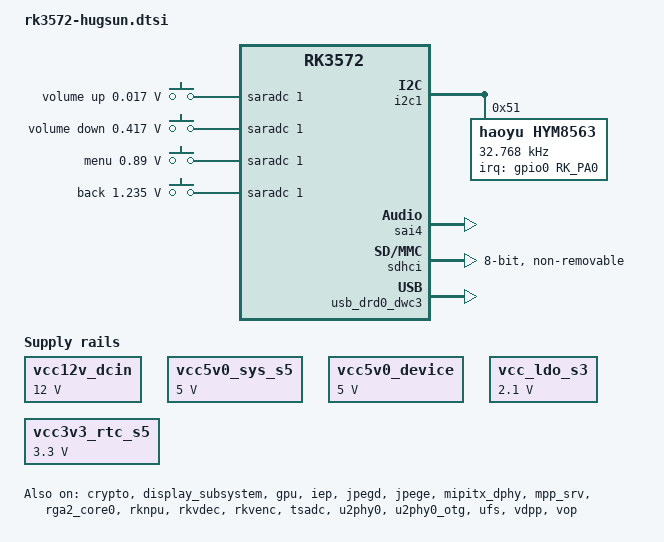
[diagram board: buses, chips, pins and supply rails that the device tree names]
// SPDX-License-Identifier: (GPL-2.0+ OR MIT)
/*
 * Copyright (c) 2025 Rockchip Electronics Co., Ltd.
 */
#include <dt-bindings/display/drm_mipi_dsi.h>
#include <dt-bindings/display/rockchip_vop.h>
#include <dt-bindings/gpio/gpio.h>
#include <dt-bindings/input/rk-input.h>
#include <dt-bindings/pinctrl/rockchip.h>
#include <dt-bindings/pwm/pwm.h>
#include <dt-bindings/sensor-dev.h>

/ {
	adc_keys: adc-keys {
		compatible = "adc-keys";
		io-channels = <&saradc 1>;
		io-channel-names = "buttons";
		keyup-threshold-microvolt = <1800000>;
		poll-interval = <100>;

		vol-up-key {
			label = "volume up";
			linux,code = <KEY_VOLUMEUP>;
			press-threshold-microvolt = <17000>;
		};

		vol-down-key {
			label = "volume down";
			linux,code = <KEY_VOLUMEDOWN>;
			press-threshold-microvolt = <417000>;
		};

		menu-key {
			label = "menu";
			linux,code = <KEY_MENU>;
			press-threshold-microvolt = <890000>;
		};

		back-key {
			label = "back";
			linux,code = <KEY_BACK>;
			press-threshold-microvolt = <1235000>;
		};
	};

	asrc_codec: asrc-codec {
		status = "disabled";
		compatible = "rockchip,dummy-codec";
		#sound-dai-cells = <0>;
	};

	asrc_sound: asrc-sound {
		status = "disabled";
		compatible = "rockchip,multicodecs-card";
		rockchip,card-name = "rockchip,asrc";
		rockchip,mclk-fs = <256>;
		simple-audio-card,format = "i2s";
		rockchip,cpu = <&sai0>;
		rockchip,asrc = <&asrc0>;
		rockchip,codec = <&asrc_codec>;
		rockchip,audio-routing =
			"Dummy Playback", "SAI0 Playback",
			"SAI0 Capture", "Dummy Capture",
			"SAI0 Playback", "ASRC0 Playback",
			"ASRC0 Capture", "SAI0 Capture";
	};

	dsm_sound: dsm-sound {
		status = "disabled";
		compatible = "simple-audio-card";
		simple-audio-card,format = "i2s";
		simple-audio-card,mclk-fs = <256>;
		simple-audio-card,name = "rockchip,dsm-sound";
		simple-audio-card,bitclock-master = <&sndcodec>;
		simple-audio-card,frame-master = <&sndcodec>;
		sndcpu: simple-audio-card,cpu {
			sound-dai = <&sai3>;
		};
		sndcodec: simple-audio-card,codec {
			sound-dai = <&acdcdig_dsm>;
		};
	};

	edp_sound: edp-sound {
		status = "disabled";
		compatible = "rockchip,hdmi";
		rockchip,mclk-fs = <128>;
		rockchip,card-name = "rockchip-edp";
		rockchip,cpu = <&sai4>;
		rockchip,codec = <&edp 0>;
	};

	hdmi_sound: hdmi-sound {
		compatible = "rockchip,hdmi";
		rockchip,mclk-fs = <128>;
		rockchip,card-name = "rockchip-hdmi";
		rockchip,cpu = <&sai4>;
		rockchip,codec = <&hdmi>;
		rockchip,jack-det;
	};

	leds: leds {
		status = "disabled";
		compatible = "gpio-leds";
		work_led: work {
			gpios = <&gpio4 RK_PB5 GPIO_ACTIVE_HIGH>;
			default-state = "on";
		};

		bz_led: bz {
			gpios = <&gpio3 RK_PD6 GPIO_ACTIVE_HIGH>;
			default-state = "off";
		};	
	};

	spdif_rx0_dc: spdif-rx0-dc {
		compatible = "rockchip,dummy-codec";
		#sound-dai-cells = <0>;
	};

	spdif_rx0_sound: spdif-rx0-sound {
		status = "disabled";
		compatible = "simple-audio-card";
		simple-audio-card,name = "rockchip,spdif-rx0";
		simple-audio-card,cpu {
			sound-dai = <&spdif_rx0>;
		};
		simple-audio-card,codec {
			sound-dai = <&spdif_rx0_dc>;
		};
	};

	spdif_tx0_dc: spdif-tx0-dc {
		compatible = "rockchip,dummy-codec";
		#sound-dai-cells = <0>;
	};

	spdif_tx0_sound: spdif-tx0-sound {
		status = "disabled";
		compatible = "simple-audio-card";
		simple-audio-card,name = "rockchip,spdif-tx0";
		simple-audio-card,mclk-fs = <128>;
		simple-audio-card,cpu {
			sound-dai = <&spdif_tx0>;
		};
		simple-audio-card,codec {
			sound-dai = <&spdif_tx0_dc>;
		};
	};

	test-power {
		status = "okay";
	};

	vcc12v_dcin: vcc12v-dcin {
		compatible = "regulator-fixed";
		regulator-name = "vcc12v_dcin";
		regulator-always-on;
		regulator-boot-on;
		regulator-min-microvolt = <12000000>;
		regulator-max-microvolt = <12000000>;
	};

	vcc5v0_sys_s5: vcc5v0-sys {
		compatible = "regulator-fixed";
		regulator-name = "vcc5v0_sys_s5";
		regulator-always-on;
		regulator-boot-on;
		regulator-min-microvolt = <5000000>;
		regulator-max-microvolt = <5000000>;
	};

	vcc5v0_device: vcc5v0-device {
		compatible = "regulator-fixed";
		regulator-name = "vcc5v0_device";
		regulator-always-on;
		regulator-boot-on;
		regulator-min-microvolt = <5000000>;
		regulator-max-microvolt = <5000000>;
	};

	vcc_ldo_s3: vcc-ldo-s3 {
		compatible = "regulator-fixed";
		regulator-name = "vcc_ldo_s3";
		regulator-boot-on;
		regulator-always-on;
		regulator-min-microvolt = <2100000>;
		regulator-max-microvolt = <2100000>;
	};

	vcc3v3_rtc_s5: vcc3v3-rtc-s5 {
		compatible = "regulator-fixed";
		regulator-name = "vcc3v3_rtc_s5";
		regulator-boot-on;
		regulator-always-on;
		regulator-min-microvolt = <3300000>;
		regulator-max-microvolt = <3300000>;
	};
};

&cpu_l0 {
	cpu-supply = <&vdd_cpu_lit_s0>;
};

&cpu_l4 {
	cpu-supply = <&vdd_cpu_lit_s0>;
};

&cpu_b0 {
	cpu-supply = <&vdd_cpu_big_s0>;
};

&crypto {
	status = "okay";
};

&display_subsystem {
	clocks = <&hdptxphy>;
	clock-names = "hdmi0_phy_pll";
	status = "okay";
};

&gpu {
	mali-supply = <&vdd_gpu_s0>;
	status = "okay";
};

&i2c1 {
	pinctrl-0 = <&i2c1m1_xfer_pins>;
	status = "okay";

	hym8563: hym8563@51 {
		compatible = "haoyu,hym8563";
		reg = <0x51>;
		#clock-cells = <0>;
		clock-frequency = <32768>;
		clock-output-names = "hym8563";
		pinctrl-names = "default";
		pinctrl-0 = <&hym8563_int>;
		interrupt-parent = <&gpio0>;
		interrupts = <RK_PA0 IRQ_TYPE_LEVEL_LOW>;
		wakeup-source;
	};
};

&iep {
	status = "okay";
};

&iep_mmu {
	status = "okay";
};

&jpegd {
	status = "okay";
};

&jpege {
	status = "okay";
};

&jpeg_mmu {
	status = "okay";
};

&mipitx_dphy {
	status = "okay";
};

&mpp_srv {
	status = "okay";
};

&pinctrl {
	hym8563 {
		hym8563_int: hym8563-int {
			rockchip,pins = <0 RK_PC7 RK_FUNC_GPIO &pcfg_pull_up>;
		};
	};
};

&rga2_core0 {
	status = "okay";
};

&rga2_core0_mmu {
	status = "okay";
};

&rknpu {
	rknpu-supply = <&vdd_npu_s0>;
	status = "okay";
};

&rknpu_mmu {
	status = "okay";
};

&rkvdec {
	status = "okay";
};

&rkvdec_mmu {
	status = "okay";
};

&rkvenc {
	status = "okay";
};

&rkvenc_mmu {
	status = "okay";
};

&rockchip_suspend {
	status = "okay";
	rockchip,sleep-debug-en = <1>;
	rockchip,sleep-io-ret-config = <
		(0
		| RKPM_VCCIO3_RET_EN
		)
	>;
};

&sai4 {
	status = "okay";
	/delete-property/ pinctrl-names;
	/delete-property/ pinctrl-0;
};

&sdhci {
	bus-width = <8>;
	no-sdio;
	no-sd;
	non-removable;
	max-frequency = <200000000>;
	mmc-hs400-1_8v;
	mmc-hs400-enhanced-strobe;
	full-pwr-cycle-in-suspend;
	status = "okay";
};

&sdmmc0 {
	max-frequency = <200000000>;
	no-sdio;
	no-mmc;
	bus-width = <4>;
	cap-mmc-highspeed;
	cap-sd-highspeed;
	disable-wp;
	sd-uhs-sdr104;
	vmmc-supply = <&vcc3v3_sd_s0>;
	vqmmc-supply = <&vccio_sd_s0>;
	status = "disabled";
};

&tsadc {
	status = "okay";
};

&u2phy0 {
	status = "okay";
};

&u2phy0_otg {
	status = "okay";
};

&uart4 {
	status = "disabled";
	pinctrl-names = "default";
	pinctrl-0 = <&uart4m1_xfer_pins &uart4m1_ctsn_pins>;
};

&ufs {
	reset-gpios = <&gpio4 RK_PC0 GPIO_ACTIVE_HIGH>;
	status = "okay";
};

&usb_drd0_dwc3 {
	status = "okay";
};

&vdpp {
	status = "okay";
};

&vop {
	status = "okay";
};

&vop_mmu {
	status = "okay";
};
